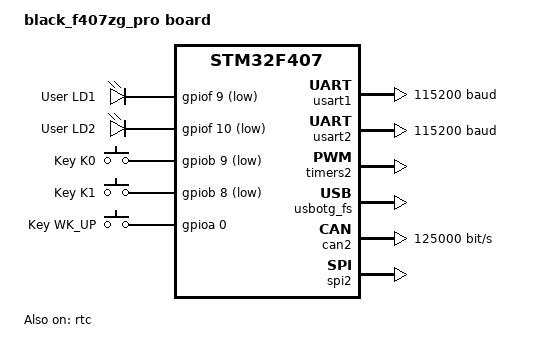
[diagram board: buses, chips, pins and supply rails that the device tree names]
/*
 * Copyright (c) 2020 Intel Corporation
 *
 * SPDX-License-Identifier: Apache-2.0
 */

/dts-v1/;
#include <st/f4/stm32f407Xg.dtsi>

/ {
	model = "black_f407zg_pro board";
	compatible = "st,stm32f407";

	chosen {
		zephyr,console = &usart2;
		zephyr,shell-uart = &usart2;
		zephyr,sram = &sram0;
		zephyr,flash = &flash0;
		zephyr,ccm = &ccm0;
		zephyr,can-primary = &can2;
	};

	leds {
		compatible = "gpio-leds";
		green_led_1: led_1 {
			gpios = <&gpiof 9 GPIO_ACTIVE_LOW>;
			label = "User LD1";
		};
		green_led_2: led_2 {
			gpios = <&gpiof 10 GPIO_ACTIVE_LOW>;
			label = "User LD2";
		};
	};

	gpio_keys {
		compatible = "gpio-keys";
		user_button_0: K0 {
			label = "Key K0";
			gpios = <&gpiob 9 GPIO_ACTIVE_LOW>;
		};
		user_button_1: K1 {
			label = "Key K1";
			gpios = <&gpiob 8 GPIO_ACTIVE_LOW>;
		};
		user_button_UP: K_UP {
			label = "Key WK_UP";
			gpios = <&gpioa 0 GPIO_ACTIVE_HIGH>;
		};
	};

	aliases {
		led0 = &green_led_1;
		led1 = &green_led_2;
		sw0 = &user_button_UP;
	};
};

&usart1 {
	current-speed = <115200>;
	status = "okay";
};

&usart2 {
	current-speed = <115200>;
	status = "okay";
};

&timers2 {
	status = "okay";

	pwm2: pwm {
		status = "okay";
	};
};

&rtc {
	status = "okay";
};

&usbotg_fs {
	status = "okay";
};

&can1 {
	bus-speed = <125000>;
	status = "disabled";
};

&can2 {
	bus-speed = <125000>;
	status = "okay";
};

&spi2 {
	status = "okay";
};
